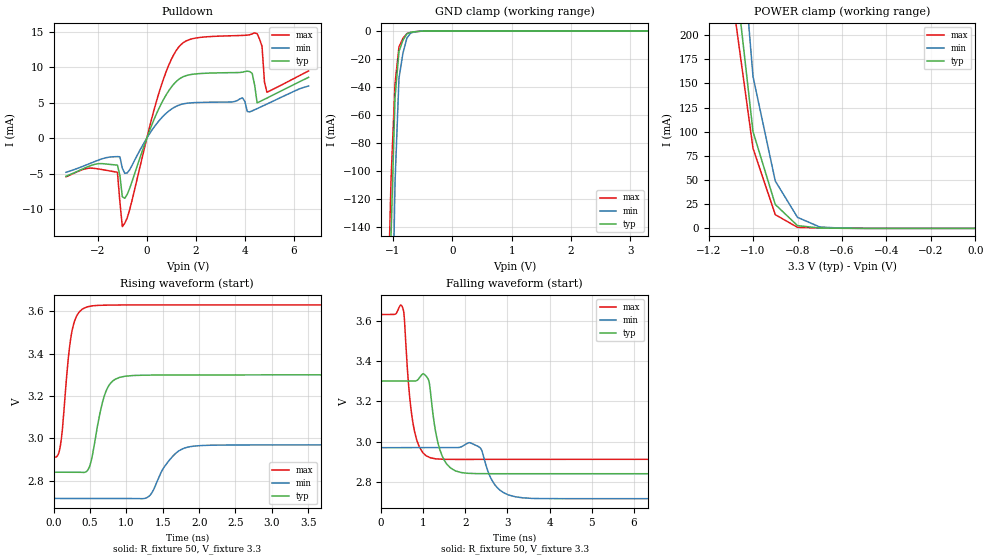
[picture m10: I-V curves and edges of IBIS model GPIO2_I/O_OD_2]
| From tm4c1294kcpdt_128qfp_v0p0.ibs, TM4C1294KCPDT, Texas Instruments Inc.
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|   Model Cell GPIO2_I/O_OD_2
[Model]   GPIO2_I/O_OD_2
Model_type   I/O_open_drain
Polarity   Inverting
Enable   Active-Low
Vinl =  0.8
Vinh =  2
Cref =  15.0000pF
Rref =  100.0000M
Vref =  0V
Vmeas =  1.65
C_comp   3.906872p   3.211855p   4.659324p
[Model Spec]
Vinl   0.8   0.8   0.8
Vinh   2   2   2
[Temperature Range]   25   125   -40
[Voltage Range]   3.3   2.97   3.63
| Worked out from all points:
|   slope of the pulldown table from 0 to 0.495 V, typ, clamps not added: 118 ohm
|   GND clamp passes 1 mA (typ) near -0.71 V on its own axis
|   POWER clamp passes 1 mA (typ) near -0.73 V on its own axis
|   rising waveform, R_fixture 50, V_fixture 3.3: 20-80 % time 165ps typ, 260ps min, 118ps max; typ from 2.84 V to 3.3 V
|   falling waveform, R_fixture 50, V_fixture 3.3: 20-80 % time 251ps typ, 338ps min, 202ps max; typ from 3.3 V to 2.84 V
| Nom Voltages:
|   IBIASFET=3.3, VDDC=1.2, VDDA=3.3, VDD=3.3, GND=0, GNDA=0
| Min Voltages:
|   IBIASFET=2.97, VDDC=1.08, VDDA=2.97, VDD=2.97, GND=0, GNDA=0
| Max Voltages:
|   IBIASFET=3.63, VDDC=1.32, VDDA=3.63, VDD=3.63, GND=0, GNDA=0
[POWER_clamp]
|   voltage   I(typ)   I(min)   I(max)
-3.3V     12.79A     11.7A      13.85A
-1.1V     304.7mA    435.8mA    251.1mA
-1.067V   236.5mA    342.9mA    195mA
-1.033V   168.3mA    250mA      138.9mA
-1V       100.1mA    157mA      82.84mA
-900mV    24.74mA    49.05mA    14.21mA
-800mV    2.84mA     11.39mA    1.081mA
-700mV    384.7uA    1.467mA    398.7uA
-600mV    110.1uA    213.8uA    128.7uA
0V        4.099pA    321.3pA    -3.579pA
[Pulldown]
|   voltage   I(typ)   I(min)   I(max)
-3.3V     -5.378mA   -4.816mA   -5.461mA
-1.2V     -3.806mA   -2.612mA   -4.816mA
-1V       -8.265mA   -4.244mA   -12.47mA
700mV     5.566mA    3.205mA    8.526mA
1.7V      8.888mA    4.934mA    13.83mA
3.9V      9.287mA    5.668mA    14.47mA
4.2V      9.362mA    3.692mA    14.56mA
4.5V      4.968mA    4.151mA    14.7mA
4.7V      5.294mA    4.472mA    12.92mA
4.8V      5.463mA    4.635mA    7.89mA
4.9V      5.635mA    4.798mA    6.454mA
6.6V      8.559mA    7.346mA    9.467mA
[GND_clamp]
|   voltage   I(typ)   I(min)   I(max)
-3.3V     -13.29A    -11.97A    -14.49A
-1.1V     -307.5mA   -503mA     -215mA
-1.033V   -145.1mA   -264.7mA   -105.5mA
-966.7mV  -47.5mA    -108.3mA   -37.63mA
-900mV    -14.58mA   -33.66mA   -11.32mA
-833.3mV  -6.592mA   -15.8mA    -5.233mA
-766.7mV  -2.012mA   -5.009mA   -1.803mA
-700mV    -844.5uA   -1.291mA   -1.03mA
-500mV    -48.1uA    -74.86uA   -41.06uA
3.3V      4.086pA    607nA      -4.095pA
[Ramp]
| variable   typ   min   max
dV/dt_f 0.29723109/0.25164659n 0.16674833/0.33932608n 0.45950538/0.20377875n
dV/dt_r 0.20971817/0.3634721n 0.12319155/0.57097451n 0.31986018/0.26335086n
R_load = 50
[Rising Waveform]
R_fixture = 50
V_fixture = 3.3
V_fixture_min = 2.97
V_fixture_max = 3.63
|   time   V(typ)   V(min)   V(max)
0s        2.841V     2.717V     2.912V
93.3ps    2.841V     2.717V     2.972V
199.6ps   2.841V     2.717V     3.38V
270.5ps   2.841V     2.717V     3.537V
523.4ps   2.908V     2.717V     3.626V
737.3ps   3.238V     2.717V     3.629V
1.067ns   3.297V     2.717V     3.63V
1.723ns   3.3V       2.942V     3.63V
2.051ns   3.3V       2.967V     3.63V
20.04ns   3.3V       2.97V      3.63V
[Falling Waveform]
R_fixture = 50
V_fixture = 3.3
V_fixture_min = 2.97
V_fixture_max = 3.63
|   time   V(typ)   V(min)   V(max)
0s        3.3V       2.97V      3.63V
503.5ps   3.3V       2.97V      3.668V
792.3ps   3.3V       2.97V      3.051V
1.129ns   3.304V     2.97V      2.924V
1.287ns   3.057V     2.97V      2.915V
1.759ns   2.855V     2.97V      2.912V
2.341ns   2.841V     2.971V     2.912V
2.709ns   2.841V     2.784V     2.912V
3.361ns   2.841V     2.721V     2.912V
20.04ns   2.841V     2.717V     2.912V
